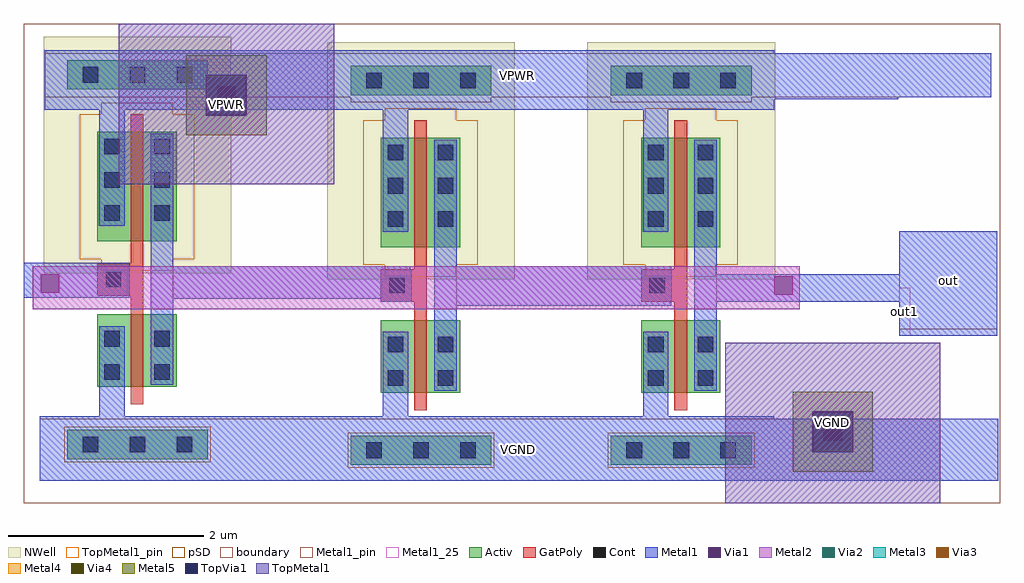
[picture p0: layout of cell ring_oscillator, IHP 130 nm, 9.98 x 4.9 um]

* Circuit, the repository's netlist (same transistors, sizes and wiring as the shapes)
* NGSPICE file created from ring_oscillator.ext - technology: ihp-sg13g2

.subckt sg13g2_inv_1 Y A VSS VDD
X0 Y A VDD VDD sg13_lv_pmos ad=0.3808p pd=2.92u as=0.3808p ps=2.92u w=1.12u l=0.13u
X1 Y A VSS VSS sg13_lv_nmos ad=0.2516p pd=2.16u as=0.2516p ps=2.16u w=0.74u l=0.13u
.ends

.subckt ring_oscillator out VPWR VGND
Xx1 x2/A x1/A VGND VPWR sg13g2_inv_1
Xx2 out x2/A VGND VPWR sg13g2_inv_1
Xx32 x1/A out VGND VPWR sg13g2_inv_1
.ends

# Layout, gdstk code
import gdstk
lib = gdstk.Library(unit=1e-6, precision=1e-09)
def R(c, l, rs):  # rectangles x0, y0, x1, y1
    for r in rs: c.add(gdstk.rectangle(r[:2], r[2:], *l))
def A(c, l, x, y, w, h, nx, ny, dx, dy):  # array of equal rectangles
    R(c, l, [(x+i*dx, y+j*dy, x+i*dx+w, y+j*dy+h) for i in range(nx) for j in range(ny)])
Activ = (1, 0)
GatPoly = (5, 0)
Cont = (6, 0)
Metal1 = (8, 0)
Metal1_pin = (8, 2)
Metal1_25 = (8, 25)
Metal2 = (10, 0)
pSD = (14, 0)
Via1 = (19, 0)
Via2 = (29, 0)
Metal3 = (30, 0)
NWell = (31, 0)
Via3 = (49, 0)
Metal4 = (50, 0)
Via4 = (66, 0)
Metal5 = (67, 0)
TopVia1 = (125, 0)
TopMetal1 = (126, 0)
TopMetal1_pin = (126, 2)
boundary = (189, 4)

sg13g2_inv_1 = lib.new_cell('sg13g2_inv_1')
R(sg13g2_inv_1, Activ, [(0,-0.15,1.44,0.15), (0.31,0.59,1.12,1.33), (0.31,2.075,1.12,3.195), (0,3.63,1.44,3.93)])
R(sg13g2_inv_1, GatPoly, [(0.65,0.41,0.78,1.52), (0.31,1.52,0.78,1.85), (0.65,1.85,0.78,3.375)])
A(sg13g2_inv_1, Cont, 0.16, -0.08, 0.16, 0.16, 3, 2, 0.48, 3.78)
A(sg13g2_inv_1, Cont, 0.38, 2.285, 0.16, 0.16, 1, 3, 0, 0.34)
A(sg13g2_inv_1, Cont, 0.89, 2.285, 0.16, 0.16, 1, 3, 0, 0.34)
R(sg13g2_inv_1, Cont, [(0.38,0.66,0.54,0.82), (0.89,0.66,1.05,0.82), (0.38,1,0.54,1.16), (0.89,1,1.05,1.16), (0.395,1.605,0.555,1.765)])
R(sg13g2_inv_1, Metal1, [(0,-0.22,1.44,0.22), (0.33,0.22,0.59,1.21), (0.855,0.61,1.085,3.175), (0.31,1.52,0.625,1.85), (0.33,2.235,0.59,3.56), (0,3.56,1.44,4)])
R(sg13g2_inv_1, Metal1_pin, [(0,-0.22,1.44,0.22), (0.855,0.61,1.085,3.175), (0.31,1.52,0.625,1.85), (0,3.56,1.44,4)])
R(sg13g2_inv_1, pSD, [(-0.03,-0.18,1.47,0.18), (0.35,1.775,1.08,1.895), (0.13,1.895,1.3,3.375), (0.35,3.375,1.08,3.495)])
R(sg13g2_inv_1, NWell, [(-0.24,1.75,1.68,4.17)])
R(sg13g2_inv_1, boundary, [(0,0,1.44,3.78)])
sg13g2_inv_1.add(gdstk.Label('Y', (0.97,1.892), layer=8, texttype=25))
sg13g2_inv_1.add(gdstk.Label('A', (0.467,1.685), layer=8, texttype=25))
sg13g2_inv_1.add(gdstk.Label('VSS', (0.72,0), layer=8, texttype=25))
sg13g2_inv_1.add(gdstk.Label('VDD', (0.72,3.78), layer=8, texttype=25))

ring_oscillator = lib.new_cell('ring_oscillator')
R(ring_oscillator, Activ, [(7.01,1.27,7.08,1.4)])
R(ring_oscillator, Metal1, [(0.16,0.23,9.96,0.86), (0.16,0.86,7.67,0.89), (8.95,1.71,9.95,2.06), (4.23,2.02,6.62,2.42), (6.88,2.06,9.95,2.34), (1.3,2.09,3.95,2.42), (0,2.1,1.08,2.46), (8.95,2.34,9.95,2.78), (0.21,4.02,7.67,4.13), (0.21,4.13,8.94,4.15), (0.21,4.15,9.89,4.6), (0.21,4.6,7.67,4.63)])
R(ring_oscillator, Metal1_pin, [(0.16,0.23,9.96,0.86), (8.95,1.78,9.95,2.78), (0.21,4.15,9.89,4.6)])
R(ring_oscillator, Metal1_25, [(8.95,1.71,9.06,2.2)])
R(ring_oscillator, Metal2, [(8.07,0.53,8.47,0.93), (0.09,1.98,7.93,2.42), (1.87,3.97,2.27,4.37)])
R(ring_oscillator, Via1, [(8.175,0.635,8.365,0.825), (7.67,2.13,7.86,2.32), (0.17,2.15,0.36,2.34), (1.975,4.075,2.165,4.265)])
R(ring_oscillator, Via2, [(8.175,0.635,8.365,0.825), (1.975,4.075,2.165,4.265)])
R(ring_oscillator, Metal3, [(8.07,0.53,8.47,0.93), (1.87,3.97,2.27,4.37)])
R(ring_oscillator, NWell, [(4.12,2.7,4.16,3.18)])
R(ring_oscillator, Via3, [(8.175,0.635,8.365,0.825), (1.975,4.075,2.165,4.265)])
R(ring_oscillator, Metal4, [(8.07,0.53,8.47,0.93), (1.87,3.97,2.27,4.37)])
R(ring_oscillator, Via4, [(8.175,0.635,8.365,0.825), (1.975,4.075,2.165,4.265)])
R(ring_oscillator, Metal5, [(7.86,0.32,8.68,1.14), (1.66,3.76,2.48,4.58)])
R(ring_oscillator, TopVia1, [(8.06,0.52,8.48,0.94), (1.86,3.96,2.28,4.38)])
R(ring_oscillator, TopMetal1, [(7.17,0,9.37,1.64), (0.97,3.26,3.17,4.9)])
R(ring_oscillator, TopMetal1_pin, [(7.17,0,9.37,1.64), (0.97,3.26,3.17,4.9)])
R(ring_oscillator, boundary, [(0,0,9.98,4.9)])
ring_oscillator.add(gdstk.Reference(sg13g2_inv_1, (0.44,0.6)))
ring_oscillator.add(gdstk.Reference(sg13g2_inv_1, (6,0.54)))
ring_oscillator.add(gdstk.Reference(sg13g2_inv_1, (3.34,0.54)))
ring_oscillator.add(gdstk.Label('out1', (9.005,1.955), layer=8, texttype=25))
ring_oscillator.add(gdstk.Label('out', (9.45,2.28), layer=8, texttype=25))
ring_oscillator.add(gdstk.Label('VPWR', (2.07,4.08), layer=126, texttype=25))
ring_oscillator.add(gdstk.Label('VPWR', (5.05,4.375), layer=8, texttype=25))
ring_oscillator.add(gdstk.Label('VGND', (8.27,0.82), layer=126, texttype=25))
ring_oscillator.add(gdstk.Label('VGND', (5.06,0.545), layer=8, texttype=25))

lib.write_gds('ring_oscillator.gds')
